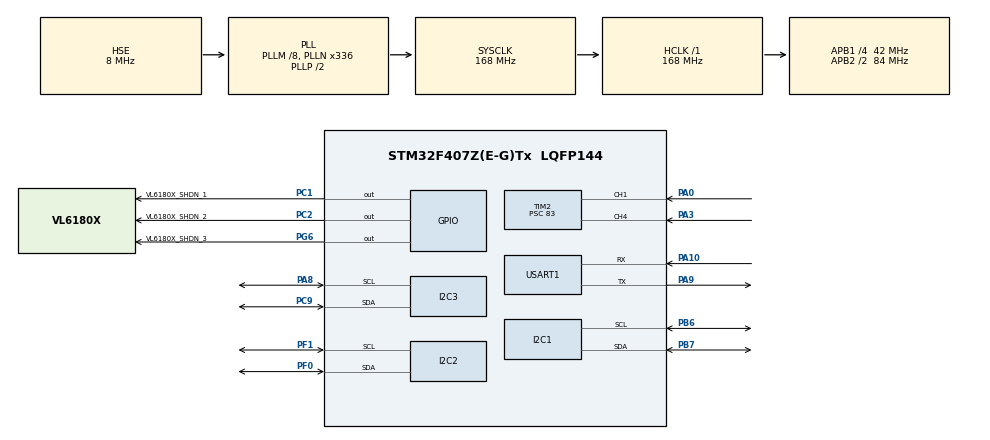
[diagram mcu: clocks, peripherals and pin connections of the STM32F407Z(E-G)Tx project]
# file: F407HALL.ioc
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I2C3.OwnAddress1=0
Mcu.Family=STM32F4
Mcu.Name=STM32F407Z(E-G)Tx
Mcu.Package=LQFP144
NVIC.PriorityGroup=NVIC_PRIORITYGROUP_4
NVIC.TIM2_IRQn=true\:2\:0\:true\:false\:true\:true\:true\:true
PA0-WKUP.Signal=S_TIM2_CH1_ETR
PA3.Signal=S_TIM2_CH4
PA9.Mode=Asynchronous
PA9.Signal=USART1_TX
PA10.Mode=Asynchronous
PA10.Signal=USART1_RX
PA13.Mode=Serial_Wire
PA13.Signal=SYS_JTMS-SWDIO
PA14.Mode=Serial_Wire
PA14.Signal=SYS_JTCK-SWCLK
PA8.Mode=I2C
PA8.Signal=I2C3_SCL
PB6.Mode=I2C
PB6.Signal=I2C1_SCL
PB7.Mode=I2C
PB7.Signal=I2C1_SDA
PC1.GPIO_Label=VL6180X_SHDN_1
PC1.Signal=GPIO_Output
PC2.GPIO_Label=VL6180X_SHDN_2
PC2.Signal=GPIO_Output
PC9.Mode=I2C
PC9.Signal=I2C3_SDA
PF0.Mode=I2C
PF0.Signal=I2C2_SDA
PF1.Mode=I2C
PF1.Signal=I2C2_SCL
PG6.GPIO_Label=VL6180X_SHDN_3
PG6.Signal=GPIO_Output
PH0-OSC_IN.Mode=HSE-External-Oscillator
PH0-OSC_IN.Signal=RCC_OSC_IN
PH1-OSC_OUT.Mode=HSE-External-Oscillator
PH1-OSC_OUT.Signal=RCC_OSC_OUT
ProjectManager.HeapSize=0x200
ProjectManager.StackSize=0x400
ProjectManager.TargetToolchain=CMake
RCC.48MHZClocksFreq_Value=84000000
RCC.AHBFreq_Value=168000000
RCC.APB1CLKDivider=RCC_HCLK_DIV4
RCC.APB1Freq_Value=42000000
RCC.APB1TimFreq_Value=84000000
RCC.APB2CLKDivider=RCC_HCLK_DIV2
RCC.APB2Freq_Value=84000000
RCC.APB2TimFreq_Value=168000000
RCC.CortexFreq_Value=168000000
RCC.HCLKFreq_Value=168000000
RCC.HSE_VALUE=8000000
RCC.HSI_VALUE=16000000
RCC.LSE_VALUE=32768
RCC.PLLM=8
RCC.PLLN=336
RCC.PLLSourceVirtual=RCC_PLLSOURCE_HSE
RCC.SYSCLKFreq_VALUE=168000000
RCC.SYSCLKSource=RCC_SYSCLKSOURCE_PLLCLK
RCC.VCOOutputFreq_Value=336000000
SH.S_TIM2_CH1_ETR.0=TIM2_CH1,Input_Capture1_from_TI1
SH.S_TIM2_CH4.0=TIM2_CH4,Input_Capture4_from_TI4
USART1.VirtualMode=VM_ASYNC
TIM2.Channel-Input_Capture1_from_TI1=TIM_CHANNEL_1
TIM2.Channel-Input_Capture4_from_TI4=TIM_CHANNEL_4
TIM2.ICFilter_CH1=8
TIM2.ICFilter_CH4=8
TIM2.ICPolarity_CH1=TIM_INPUTCHANNELPOLARITY_FALLING
TIM2.ICPolarity_CH4=TIM_INPUTCHANNELPOLARITY_FALLING
TIM2.Prescaler=83
VP_TIM2_VS_ClockSourceINT.Mode=Internal
board=custom

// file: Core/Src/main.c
/* USER CODE BEGIN Header */
/**
  ******************************************************************************
  * @file           : main.c
  * @brief          : Main program body
  ******************************************************************************
  * @attention
  *
  * Copyright (c) 2026 STMicroelectronics.
  * All rights reserved.
  *
  * This software is licensed under terms that can be found in the LICENSE file
  * in the root directory of this software component.
  * If no LICENSE file comes with this software, it is provided AS-IS.
  *
  ******************************************************************************
  */
/* USER CODE END Header */
#include "main.h"
#include "i2c.h"
#include "usart.h"
#include "tim.h"
#include "gpio.h"

/* USER CODE BEGIN Includes */
#include "hall.h"
#include "vl6180x.h"
#include "uart_tx.h"
#include "i2c.h"
/* USER CODE END Includes */

/* USER CODE BEGIN PV */
/* VL6180X distance sensor */
static VL6180X_HandleTypeDef g_vl6180x_1;
static VL6180X_HandleTypeDef g_vl6180x_2;
static VL6180X_HandleTypeDef g_vl6180x_3;
volatile uint8_t g_distance_mm = 0U;
volatile uint8_t g_range_status = 0U;
volatile uint8_t g_distance_mm_2 = 0U;
volatile uint8_t g_range_status_2 = 0U;
volatile uint8_t g_sensor_present = 0U;
volatile uint8_t g_model_id = 0U;
volatile uint32_t g_stage1_error = 0U;
volatile uint8_t g_sensor2_present = 0U;
volatile uint8_t g_model_id_2 = 0U;
volatile uint32_t g_stage1_error_2 = 0U;
volatile uint8_t g_distance_mm_3 = 0U;
volatile uint8_t g_range_status_3 = 0U;
volatile uint8_t g_sensor3_present = 0U;
volatile uint8_t g_model_id_3 = 0U;
volatile uint32_t g_stage1_error_3 = 0U;
volatile uint8_t g_measure_status_3 = VL6180X_STATUS_INVALID_ARGUMENT;
volatile uint8_t g_measure_stage_3 = VL6180X_MEASURE_STAGE_IDLE;
volatile uint32_t g_measure_ok_count_3 = 0U;
volatile uint32_t g_measure_error_count_3 = 0U;
volatile uint32_t g_i2c3_recovery_count = 0U;
volatile uint32_t g_i2c3_error_at_failure = HAL_I2C_ERROR_NONE;
static uint32_t g_i2c3_last_recovery_tick = 0U;

/* 启动阶段标记: 1=main入口 2=HAL初始化 3=时钟 4=外设 5=应用层就绪 */
volatile uint32_t g_boot_stage = 0U;
volatile uint32_t g_error_handler_count = 0U;

/* USER CODE END PV */

void SystemClock_Config(void);
/* USER CODE BEGIN PFP */
static void Stage1_ResetSensors(void);
static void Stage1_CheckSensor(VL6180X_HandleTypeDef *sensor, I2C_HandleTypeDef *i2c,
                               volatile uint8_t *present, volatile uint8_t *model_id,
                               volatile uint32_t *app_error);
static VL6180X_StatusTypeDef Stage1_MeasureOnce(VL6180X_HandleTypeDef *sensor,
                                                volatile uint8_t *distance_mm,
                                                volatile uint8_t *range_status);
static void Stage1_RecoverSensor3(void);
/* USER CODE END PFP */

/* USER CODE BEGIN 0 */
static void Stage1_ResetSensors(void)
{
  HAL_GPIO_WritePin(VL6180X_SHDN_1_GPIO_Port, VL6180X_SHDN_1_Pin, GPIO_PIN_RESET);
  HAL_GPIO_WritePin(VL6180X_SHDN_2_GPIO_Port, VL6180X_SHDN_2_Pin, GPIO_PIN_RESET);
  HAL_GPIO_WritePin(VL6180X_SHDN_3_GPIO_Port, VL6180X_SHDN_3_Pin, GPIO_PIN_RESET);
  HAL_Delay(10U);
}

static void Stage1_CheckSensor(VL6180X_HandleTypeDef *sensor, I2C_HandleTypeDef *i2c,
                               volatile uint8_t *present, volatile uint8_t *model_id,
                               volatile uint32_t *app_error)
{
  *present = 0U;
  *model_id = 0U;
  *app_error = 0U;

  VL6180X_StatusTypeDef status = VL6180X_Init(sensor, i2c);
  *model_id = sensor->model_id;

  if (status == VL6180X_STATUS_I2C_ERROR) {
    *app_error = 1U;  /* 传感器未找到 */
    return;
  }

  if (status == VL6180X_STATUS_WRONG_DEVICE) {
    *app_error = 2U;  /* 错误的设备 */
    return;
  }
  if (status != VL6180X_STATUS_OK) {
    *app_error = 3U;  /* 初始化失败 */
    return;
  }
  *present = 1U;
}

static VL6180X_StatusTypeDef Stage1_MeasureOnce(VL6180X_HandleTypeDef *sensor,
                                                volatile uint8_t *distance_mm,
                                                volatile uint8_t *range_status)
{
  uint8_t distance = 0U;
  *range_status = 0U;

  if (sensor->initialized == 0U) {
    return VL6180X_STATUS_INVALID_ARGUMENT;
  }

  VL6180X_StatusTypeDef status = VL6180X_ReadDistance(sensor, &distance);
  *range_status = sensor->range_status;

  if (status != VL6180X_STATUS_OK) {
    return status;
  }

  *distance_mm = distance;
  return VL6180X_STATUS_OK;
}

static void Stage1_RecoverSensor3(void)
{
  g_i2c3_recovery_count++;
  g_sensor3_present = 0U;
  g_vl6180x_3.initialized = 0U;

  HAL_GPIO_WritePin(VL6180X_SHDN_3_GPIO_Port, VL6180X_SHDN_3_Pin, GPIO_PIN_RESET);
  HAL_Delay(10U);
  (void)HAL_I2C_DeInit(&hi2c3);
  MX_I2C3_Init();
  HAL_GPIO_WritePin(VL6180X_SHDN_3_GPIO_Port, VL6180X_SHDN_3_Pin, GPIO_PIN_SET);
  HAL_Delay(50U);
  Stage1_CheckSensor(&g_vl6180x_3, &hi2c3, &g_sensor3_present,
                     &g_model_id_3, &g_stage1_error_3);
}

/* USER CODE END 0 */

int main(void)
{

  /* USER CODE BEGIN 1 */

  g_boot_stage = 1U;

  /* USER CODE END 1 */

  /* MCU Configuration--------------------------------------------------------*/

  /* Reset of all peripherals, Initializes the Flash interface and the Systick. */
  HAL_Init();

  /* Configure the system clock */
  SystemClock_Config();

  /* Initialize all configured peripherals */
  MX_GPIO_Init();
  MX_TIM2_Init();
  MX_I2C1_Init();
  MX_I2C2_Init();
  MX_I2C3_Init();
  MX_USART1_UART_Init();
  /* USER CODE BEGIN 2 */
  g_boot_stage = 4U;

  UART_Tx_Init(&huart1);
  Stage1_ResetSensors();
  HAL_GPIO_WritePin(VL6180X_SHDN_1_GPIO_Port, VL6180X_SHDN_1_Pin, GPIO_PIN_SET);
  HAL_Delay(20U);
  Stage1_CheckSensor(&g_vl6180x_1, &hi2c1, &g_sensor_present, &g_model_id, &g_stage1_error);
  HAL_GPIO_WritePin(VL6180X_SHDN_2_GPIO_Port, VL6180X_SHDN_2_Pin, GPIO_PIN_SET);
  HAL_Delay(20U);
  Stage1_CheckSensor(&g_vl6180x_2, &hi2c2, &g_sensor2_present, &g_model_id_2, &g_stage1_error_2);
  HAL_GPIO_WritePin(VL6180X_SHDN_3_GPIO_Port, VL6180X_SHDN_3_Pin, GPIO_PIN_SET);
  HAL_Delay(50U);
  Stage1_CheckSensor(&g_vl6180x_3, &hi2c3, &g_sensor3_present, &g_model_id_3, &g_stage1_error_3);

  /* 霍尔传感器初始化 */
  Hall_Init();

  g_boot_stage = 5U;

  /* USER CODE END 2 */

  /* Infinite loop */
  while (1)
  {

    /* USER CODE BEGIN 3 */
    /* 更新霍尔数据 (计算角速度) */
    Hall_Update();

    /* 获取霍尔角速度 */
    uint32_t omega1 = Hall_GetOmega(0);
    uint32_t omega2 = Hall_GetOmega(1);
    (void)Stage1_MeasureOnce(&g_vl6180x_1, &g_distance_mm, &g_range_status);
    (void)Stage1_MeasureOnce(&g_vl6180x_2, &g_distance_mm_2, &g_range_status_2);
    VL6180X_StatusTypeDef measure_status_3 =
        Stage1_MeasureOnce(&g_vl6180x_3, &g_distance_mm_3, &g_range_status_3);
    g_measure_status_3 = (uint8_t)measure_status_3;
    g_measure_stage_3 = g_vl6180x_3.measure_stage;
    if (measure_status_3 == VL6180X_STATUS_OK) {
      g_measure_ok_count_3++;
    } else {
      uint32_t now = HAL_GetTick();
      g_measure_error_count_3++;
      g_i2c3_error_at_failure = hi2c3.ErrorCode;
      if ((measure_status_3 == VL6180X_STATUS_I2C_ERROR) &&
          ((hi2c3.ErrorCode & HAL_I2C_ERROR_TIMEOUT) != 0U) &&
          ((g_i2c3_last_recovery_tick == 0U) ||
           ((now - g_i2c3_last_recovery_tick) >= 1000U))) {
        g_i2c3_last_recovery_tick = now;
        Stage1_RecoverSensor3();
      }
    }
    {
      uint16_t rs = (uint16_t)(g_range_status & 0x0FU) |
                    (uint16_t)((uint16_t)(g_range_status_2 & 0x0FU) << 4U) |
                    (uint16_t)((uint16_t)(g_range_status_3 & 0x0FU) << 8U);
      (void)UART_Tx_Send(omega1, omega2, (uint16_t)g_distance_mm,
                         (uint16_t)g_distance_mm_2, (uint16_t)g_distance_mm_3, rs);
    }

    HAL_Delay(50);
  /* USER CODE END 3 */
  }
}

void SystemClock_Config(void)
{
  RCC_OscInitTypeDef RCC_OscInitStruct = {0};
  RCC_ClkInitTypeDef RCC_ClkInitStruct = {0};

  /** Configure the main internal regulator output voltage
  */
  __HAL_RCC_PWR_CLK_ENABLE();
  __HAL_PWR_VOLTAGESCALING_CONFIG(PWR_REGULATOR_VOLTAGE_SCALE1);

  /** Initializes the RCC Oscillators according to the specified parameters
  * in the RCC_OscInitTypeDef structure.
  */
  RCC_OscInitStruct.OscillatorType = RCC_OSCILLATORTYPE_HSE;
  RCC_OscInitStruct.HSEState = RCC_HSE_ON;
  RCC_OscInitStruct.PLL.PLLState = RCC_PLL_ON;
  RCC_OscInitStruct.PLL.PLLSource = RCC_PLLSOURCE_HSE;
  RCC_OscInitStruct.PLL.PLLM = 8;
  RCC_OscInitStruct.PLL.PLLN = 336;
  RCC_OscInitStruct.PLL.PLLP = RCC_PLLP_DIV2;
  RCC_OscInitStruct.PLL.PLLQ = 4;
  if (HAL_RCC_OscConfig(&RCC_OscInitStruct) != HAL_OK)
  {
    Error_Handler();
  }

  /** Initializes the CPU, AHB and APB buses clocks
  */
  RCC_ClkInitStruct.ClockType = RCC_CLOCKTYPE_HCLK|RCC_CLOCKTYPE_SYSCLK
                              |RCC_CLOCKTYPE_PCLK1|RCC_CLOCKTYPE_PCLK2;
  RCC_ClkInitStruct.SYSCLKSource = RCC_SYSCLKSOURCE_PLLCLK;
  RCC_ClkInitStruct.AHBCLKDivider = RCC_SYSCLK_DIV1;
  RCC_ClkInitStruct.APB1CLKDivider = RCC_HCLK_DIV4;
  RCC_ClkInitStruct.APB2CLKDivider = RCC_HCLK_DIV2;

  if (HAL_RCC_ClockConfig(&RCC_ClkInitStruct, FLASH_LATENCY_5) != HAL_OK)
  {
    Error_Handler();
  }
}

void Error_Handler(void)
{
  /* USER CODE BEGIN Error_Handler_Debug */
  /* User can add his own implementation to report the HAL error return state */
  g_error_handler_count++;
  g_boot_stage = 0xE0000000U | g_boot_stage;
  __disable_irq();
  while (1)
  {
    /* 死循环 */
  }
  /* USER CODE END Error_Handler_Debug */
}
